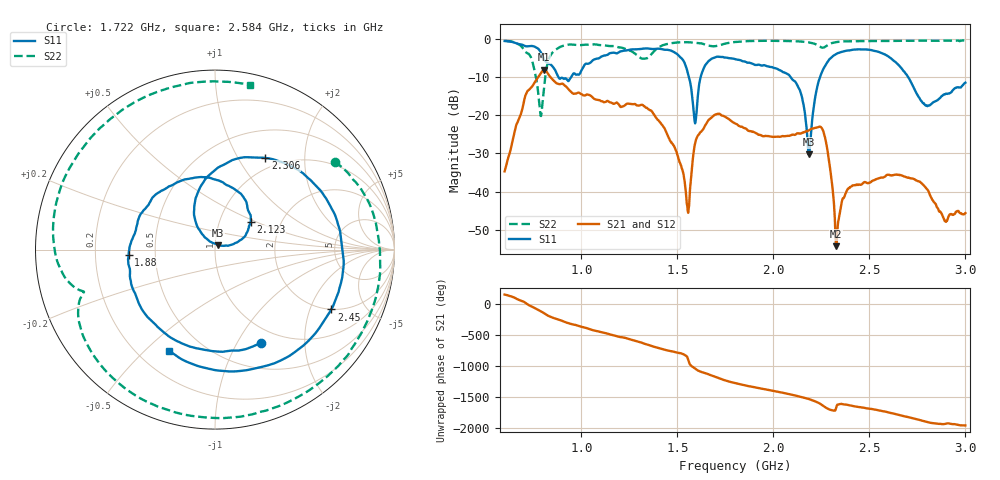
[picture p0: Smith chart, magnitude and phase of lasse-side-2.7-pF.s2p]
#  HZ  S  RI  R  50.00
! Rohde & Schwarz ZVB8 2Ports - Version 2.81 - 1145.1010k08 SN: 100113
! Date: 2016-03-31 05:15:15
! Measurements: S11 S21 S12 S22
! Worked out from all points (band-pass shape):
!   1000 points, 600 MHz to 3 GHz, reference 50 ohm
!   highest |S21| = -8.05 dB at 806.6 MHz (marker M1); lowest = -54.3 dB at 2.327 GHz (marker M2)
!   |S21| within 3 dB of the highest: 761.2 MHz to 857.9 MHz (96.7 MHz wide, 11.9 % of centre)
!   lowest |S11| = -30.3 dB at 2.183 GHz (marker M3), VSWR 1.06, Z = 51.8 + j2.56 ohm
!   |S11| at or under -10 dB: 880.1 MHz to 946.5 MHz (66.39 MHz wide, 7.27 % of centre); 2.09 GHz to 2.243 GHz (153.1 MHz wide, 7.07 % of centre); 2.702 GHz to end of sweep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
!   |S22| runs from -20.2 to -0.4 dB; largest |S21 - S12| = 0.0046
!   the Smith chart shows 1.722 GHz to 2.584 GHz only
!   S11 on the Smith chart (normalised r, x): 1.722 GHz: 0.81, -1.26; 1.88 GHz: 0.35, -0.03; 2.123 GHz: 1.41, +0.46; 2.306 GHz: 0.85, +1.31; 2.45 GHz: 2.00, -2.83; 2.584 GHz: 0.33, -0.59
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6e8  0.0266 0.9367  -0.0155 0.00997  -0.0156 0.0099  -0.0364 0.9451
6.936937e8  0.6336 0.5432  0.0955 0.0809  0.0949 0.0814  0.6362 0.4216
8.066066e8  0.4789 -0.2337  -0.3598 -0.1653  -0.3595 -0.1661  0.0307 0.2406
1.001201e9  0.258 -0.2926  0.1854 -0.0346  0.1851 -0.0341  0.5107 -0.6539
1.176577e9  -0.5903 -0.2807  -0.1258 -0.0689  -0.1255 -0.0691  -0.7568 -0.2583
1.277477e9  -0.5822 0.4368  -0.0852 0.1117  -0.0852 0.1114  -0.1279 0.6313
1.335135e9  -0.231 0.7142  0.0378 0.1203  0.0376 0.1203  0.5429 -0.1092
1.4e9  0.2701 0.6939  0.0843 0.0182  0.084 0.0184  -0.563 -0.5247
1.553754e9  0.2614 -0.2488  -0.00519 -0.0021  -0.00511 -0.00211  -0.1748 0.8889
1.592192e9  0.0768 -0.0152  0.0335 0.0265  0.0334 0.0265  0.1151 0.8817
1.721922e9  0.2571 -0.5201  -0.0556 -0.0873  -0.0556 -0.0872  0.667 0.4908
1.801201e9  -0.2834 -0.4627  -0.076 0.0172  -0.0759 0.0172  0.8999 0.1275
1.88048e9  -0.4811 -0.0284  -0.0249 0.0564  -0.025 0.0562  0.8705 -0.3446
2.123123e9  0.1979 0.153  0.0458 -0.0355  0.0458 -0.0353  -0.3742 -0.8501
2.183183e9  0.0182 0.0247  0.00319 -0.0629  0.00325 -0.0627  -0.6666 -0.6035
2.2e9  -0.0467 0.0608  -0.0171 -0.0647  -0.017 -0.0646  -0.7253 -0.5026
2.305706e9  0.2806 0.5108  -0.000321 0.0127  -0.000299 0.0126  -0.8801 -0.0618
2.327327e9  0.4441 0.4533  -0.00135 0.00138  -0.00129 0.0014  -0.902 0.086
2.44985e9  0.6478 -0.3332  -0.00958 0.00779  -0.00953 0.00777  -0.5454 0.7571
2.584384e9  -0.2578 -0.5624  0.00563 0.0149  0.00548 0.0151  0.1933 0.9177
2.601201e9  -0.3517 -0.4643  0.00951 0.0136  0.00941 0.0138  0.2827 0.8953
3e9  -0.199 0.1778  -0.00457 -0.00253  -0.00457 -0.00257  0.6696 -0.6768
